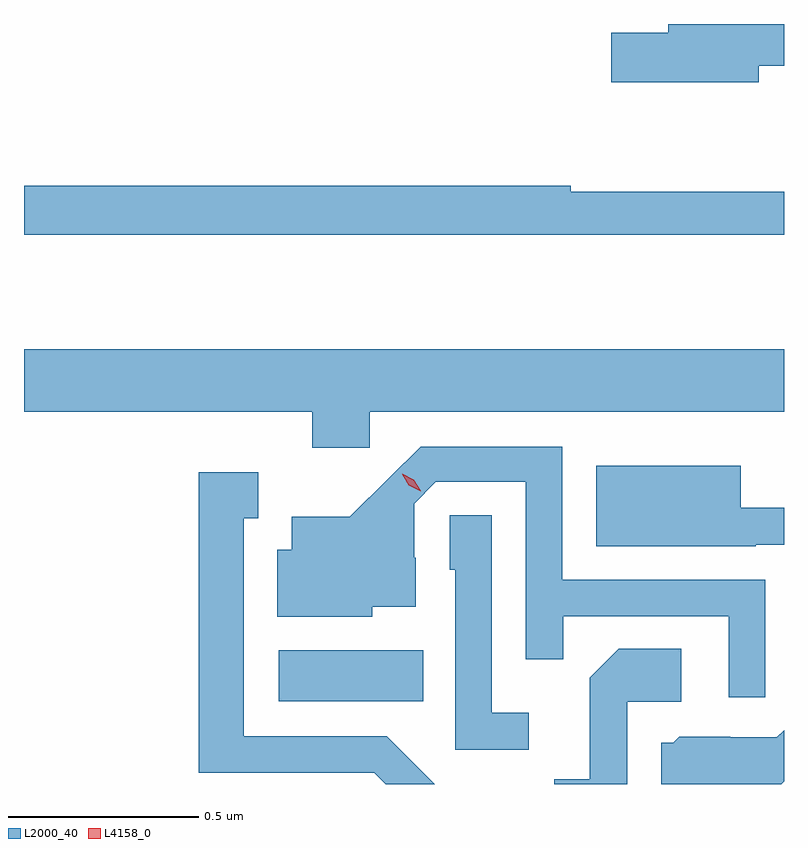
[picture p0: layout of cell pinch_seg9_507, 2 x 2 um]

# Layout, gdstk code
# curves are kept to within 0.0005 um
import gdstk
lib = gdstk.Library(unit=1e-6, precision=1e-09)
def R(c, l, rs):  # rectangles x0, y0, x1, y1
    for r in rs: c.add(gdstk.rectangle(r[:2], r[2:], *l))
def P(c, l, *ps):  # polygons
    for p in ps: c.add(gdstk.Polygon(p, *l))
L2000_40 = (2000, 40)
L4158_0 = (4158, 0)

pinch_seg9_507 = lib.new_cell('pinch_seg9_507')
R(pinch_seg9_507, L2000_40, [(298.326,1195.658,298.706,1195.792)])
P(pinch_seg9_507, L2000_40, [(299.59,1197.33),(299.656,1197.33),(299.656,1197.44),(299.351,1197.44),(299.351,1197.417),(299.202,1197.417),(299.202,1197.287),(299.59,1197.287)],
  [(299.656,1196.999),(299.095,1196.999),(299.095,1197.014),(297.656,1197.014),(297.656,1196.886),(299.656,1196.886)],
  [(298.566,1196.42),(299.656,1196.42),(299.656,1196.584),(297.656,1196.584),(297.656,1196.42),(298.415,1196.42),(298.415,1196.325),(298.566,1196.325)],
  [(299.607,1195.977),(299.073,1195.977),(299.073,1196.328),(298.7,1196.328),(298.513,1196.143),(298.361,1196.143),(298.361,1196.056),(298.322,1196.056),(298.322,1195.88),(298.572,1195.88),(298.572,1195.907),(298.687,1195.907),(298.687,1196.036),(298.683,1196.036),(298.683,1196.178),(298.74,1196.235),(298.977,1196.235),(298.977,1195.768),(299.075,1195.768),(299.075,1195.881),(299.511,1195.881),(299.511,1195.668),(299.607,1195.668)],
  [(299.582,1196.07),(299.656,1196.07),(299.656,1196.167),(299.542,1196.167),(299.542,1196.278),(299.162,1196.278),(299.162,1196.066),(299.582,1196.066)],
  [(299.244,1195.656),(299.386,1195.656),(299.386,1195.796),(299.221,1195.796),(299.145,1195.72),(299.145,1195.453),(299.051,1195.453),(299.051,1195.44),(299.244,1195.44)],
  [(298.984,1195.627),(298.887,1195.627),(298.887,1196.147),(298.776,1196.147),(298.776,1196.004),(298.791,1196.004),(298.791,1195.53),(298.984,1195.53)],
  [(299.656,1195.447),(299.656,1195.582),(299.637,1195.563),(299.514,1195.563),(299.514,1195.564),(299.38,1195.564),(299.364,1195.548),(299.333,1195.548),(299.333,1195.44),(299.649,1195.44)],
  [(298.234,1195.566),(298.234,1196.139),(298.273,1196.139),(298.273,1196.26),(298.116,1196.26),(298.116,1195.469),(298.356,1195.469),(298.356,1195.47),(298.578,1195.47),(298.608,1195.44),(298.737,1195.44),(298.611,1195.566)])
P(pinch_seg9_507, L4158_0, [(298.7,1196.211),(298.669,1196.226),(298.651,1196.255),(298.651,1196.256),(298.651,1196.256),(298.682,1196.241),(298.7,1196.212),(298.7,1196.211)])

lib.write_gds('pinch_seg9_507.gds')
